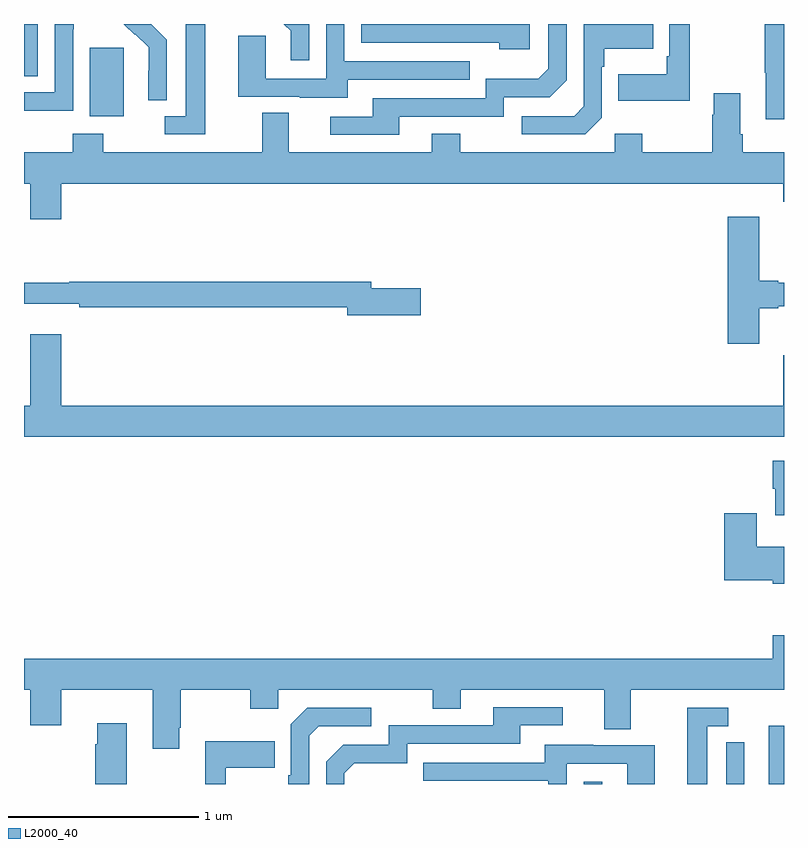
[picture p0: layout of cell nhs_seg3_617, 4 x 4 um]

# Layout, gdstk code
import gdstk
lib = gdstk.Library(unit=1e-6, precision=1e-09)
def R(c, l, rs):  # rectangles x0, y0, x1, y1
    for r in rs: c.add(gdstk.rectangle(r[:2], r[2:], *l))
def P(c, l, *ps):  # polygons
    for p in ps: c.add(gdstk.Polygon(p, *l))
L2000_40 = (2000, 40)

nhs_seg3_617 = lib.new_cell('nhs_seg3_617')
R(nhs_seg3_617, L2000_40, [(143.946,720.4,144.043,720.412), (144.92,720.4,145,720.706), (141.347,723.914,141.526,724.275), (141,724.126,141.073,724.4)])
P(nhs_seg3_617, L2000_40, [(141.955,724.4),(141.851,724.4),(141.851,723.915),(141.741,723.915),(141.741,723.819),(141.955,723.819)],
  [(142.705,724.107),(143.345,724.107),(143.345,724.203),(142.686,724.203),(142.686,724.4),(142.59,724.4),(142.59,724.113),(142.272,724.113),(142.272,724.337),(142.127,724.337),(142.127,724.017),(142.451,724.017),(142.451,724.013),(142.705,724.013)],
  [(141.258,724.372),(141.261,724.372),(141.261,724.4),(141.162,724.4),(141.162,724.041),(141,724.041),(141,723.943),(141.258,723.943)],
  [(141.75,724.318),(141.677,724.391),(141.678,724.392),(141.67,724.4),(141.526,724.4),(141.582,724.344),(141.585,724.347),(141.656,724.277),(141.656,724.154),(141.654,724.154),(141.654,724),(141.75,724)],
  [(143.662,724.398),(142.885,724.398),(142.885,724.4),(142.776,724.4),(142.776,724.302),(143.501,724.302),(143.501,724.268),(143.662,724.268)],
  [(142.5,724.4),(142.368,724.4),(142.403,724.365),(142.403,724.209),(142.5,724.209)],
  [(142.975,723.912),(143.526,723.912),(143.526,724.014),(143.766,724.014),(143.856,724.104),(143.856,724.4),(143.76,724.4),(143.76,724.164),(143.707,724.111),(143.43,724.111),(143.43,724.008),(142.835,724.008),(142.835,723.912),(142.611,723.912),(142.611,723.816),(142.975,723.816)],
  [(145,724.4),(144.898,724.4),(144.898,724.143),(144.905,724.143),(144.905,723.9),(145,723.9)],
  [(144.505,724.4),(144.396,724.4),(144.396,724.231),(144.384,724.231),(144.384,724.135),(144.127,724.135),(144.127,723.995),(144.505,723.995)],
  [(144.042,723.906),(144.042,724.175),(144.055,724.175),(144.055,724.271),(144.311,724.271),(144.311,724.4),(143.946,724.4),(143.946,723.966),(143.895,723.915),(143.619,723.915),(143.619,723.819),(143.955,723.819)],
  [(141.196,723.56),(144.995,723.56),(144.995,723.464),(145,723.464),(145,723.724),(144.782,723.724),(144.782,723.82),(144.769,723.82),(144.769,724.036),(144.629,724.036),(144.629,723.923),(144.622,723.923),(144.622,723.724),(144.255,723.724),(144.255,723.823),(144.108,723.823),(144.108,723.724),(143.295,723.724),(143.295,723.823),(143.147,723.823),(143.147,723.724),(142.393,723.724),(142.393,723.932),(142.253,723.932),(142.253,723.724),(141.417,723.724),(141.417,723.823),(141.257,723.823),(141.257,723.724),(141,723.724),(141,723.56),(141.032,723.56),(141.032,723.372),(141.196,723.372)],
  [(144.871,722.903),(144.971,722.903),(144.971,722.915),(145,722.915),(145,723.037),(144.971,723.037),(144.971,723.05),(144.871,723.05),(144.871,723.385),(144.704,723.385),(144.704,722.718),(144.871,722.718)],
  [(143.089,723.008),(142.828,723.008),(142.828,723.044),(141.238,723.044),(141.238,723.037),(141,723.037),(141,722.927),(141.292,722.927),(141.292,722.908),(142.7,722.908),(142.7,722.866),(143.089,722.866)],
  [(145,722.657),(144.995,722.657),(144.995,722.392),(141.196,722.392),(141.196,722.767),(141.032,722.767),(141.032,722.392),(141,722.392),(141,722.228),(145,722.228)],
  [(145,722.101),(144.941,722.101),(144.941,721.953),(144.953,721.953),(144.953,721.814),(145,721.814)],
  [(145,721.648),(144.856,721.648),(144.856,721.825),(144.686,721.825),(144.686,721.472),(144.942,721.472),(144.942,721.454),(145,721.454)],
  [(141.817,720.697),(141.825,720.697),(141.825,720.896),(142.192,720.896),(142.192,720.797),(142.338,720.797),(142.338,720.896),(143.152,720.896),(143.152,720.797),(143.299,720.797),(143.299,720.896),(144.053,720.896),(144.053,720.688),(144.193,720.688),(144.193,720.896),(145,720.896),(145,721.184),(144.941,721.184),(144.941,721.06),(141,721.06),(141,720.896),(141.032,720.896),(141.032,720.708),(141.196,720.708),(141.196,720.896),(141.677,720.896),(141.677,720.585),(141.817,720.585)],
  [(142.686,720.456),(142.739,720.509),(143.016,720.509),(143.016,720.612),(143.611,720.612),(143.611,720.708),(143.836,720.708),(143.836,720.804),(143.471,720.804),(143.471,720.708),(142.92,720.708),(142.92,720.606),(142.68,720.606),(142.59,720.516),(142.59,720.4),(142.686,720.4)],
  [(144.595,720.705),(144.706,720.705),(144.706,720.801),(144.491,720.801),(144.491,720.4),(144.595,720.4)],
  [(142.5,720.654),(142.551,720.705),(142.828,720.705),(142.828,720.801),(142.491,720.801),(142.404,720.714),(142.404,720.445),(142.392,720.445),(142.392,720.4),(142.5,720.4)],
  [(141.541,720.721),(141.386,720.721),(141.386,720.608),(141.374,720.608),(141.374,720.4),(141.541,720.4)],
  [(142.063,720.485),(142.319,720.485),(142.319,720.625),(141.953,720.625),(141.953,720.4),(142.063,720.4)],
  [(144.791,720.466),(144.792,720.466),(144.792,720.62),(144.696,720.62),(144.696,720.4),(144.791,720.4)],
  [(143.856,720.507),(144.174,720.507),(144.174,720.4),(144.319,720.4),(144.319,720.603),(143.995,720.603),(143.995,720.607),(143.741,720.607),(143.741,720.513),(143.101,720.513),(143.101,720.417),(143.76,720.417),(143.76,720.4),(143.856,720.4)])

lib.write_gds('nhs_seg3_617.gds')
